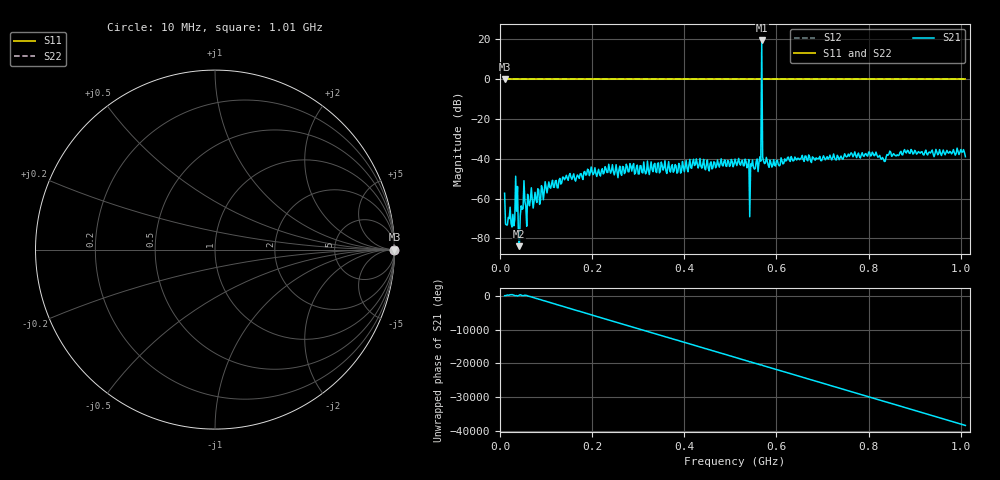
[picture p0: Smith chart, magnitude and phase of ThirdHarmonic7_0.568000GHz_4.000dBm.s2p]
! 8/17/2025 5:29:54 PM
! C:\ANRITSUVNA\TEMP\TEMP.S2P
! CHANNEL.1
! TR.MEASUREMENT
! RAW.DATA
! RF.CORRECTION.OFF
! AVERAGING.OFF
! IF.BANDWIDTH: 5KHZ
! SWEEPTYPE:  FREQ.SWEEP(Linear)
! Reference Plane Port Info
! PORT:  PORT1  PORT2
! DISTANCE:  0  m  0  m
! TIME:  0  s  0  s
! PHASE.OFFSET:  0  deg.  0  deg.
! LOSS:  0  dB  0  dB
! REF.LOSS:  0  dB  0  dB
! REF.FREQ:  0  Hz  0  Hz
! Power Info
! POWER:  -20  dBm  -20  dBm
! EFF.POWER:  -20  dBm  -20  dBm
! SOURCE.ATTEN:  0  dB  0  dB
! TEST.ATTEN:  0  dB  0  dB
# GHZ S RI R 50.0
! FREQ.GHZ  S11RE  S11IM  S21RE  S21IM  S12RE  S12IM  S22RE  S22IM
!; PortSelection: Port_12
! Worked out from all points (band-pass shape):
!   501 points, 10 MHz to 1.01 GHz, reference 50 ohm
!   highest |S21| = 19.47 dB at 568 MHz (marker M1); lowest = -84.0 dB at 42 MHz (marker M2)
!   |S21| within 3 dB of the highest: 567.9012 MHz to 568.1023 MHz (201.1 kHz wide, 0.0354 % of centre)
!   lowest |S11| = 0.0 dB at 10 MHz (marker M3)
!   |S11| at or under -10 dB: nowhere
!   |S22| runs from 0.0 to 0.0 dB; largest |S21 - S12| = 9.8
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0.01  1 0  0.00134 -0.000195  1 0  1 0
0.016  1 0  -0.000204 -7.21e-05  1 0  1 0
0.028  1 0  -0.000244 -0.000314  1 0  1 0
0.034  1 0  0.00226 -0.00284  1 0  1 0
0.042  1 0  -2.67e-05 5.74e-05  1 0  1 0
0.044  1 0  -3.5e-06 -0.000367  1 0  1 0
0.05  1 0  0.000553 -2.57e-05  1 0  1 0
0.178  1 0  -0.00333 -0.00108  1 0  1 0
0.344  1 0  0.0075 -0.00237  1 0  1 0
0.51  1 0  -0.00972 -0.00109  1 0  1 0
0.536  1 0  -0.00496 -0.00321  1 0  1 0
0.538  1 0  -0.00586 0.00347  1 0  1 0
0.546  1 0  -0.00661 0.000205  1 0  1 0
0.548  1 0  -0.00151 0.00915  1 0  1 0
0.562  1 0  0.00109 -0.00783  1 0  1 0
0.564  1 0  -0.011 -0.00205  1 0  1 0
0.568  1 0  -3.078 8.891  1 0  1 0
0.572  1 0  -0.00744 -0.00465  1 0  1 0
0.574  1 0  -0.00499 0.00564  1 0  1 0
0.678  1 0  0.00391 -0.0104  1 0  1 0
0.844  1 0  -0.00382 0.0124  1 0  1 0
1.01  1 0  -0.00271 -0.0109  1 0  1 0
